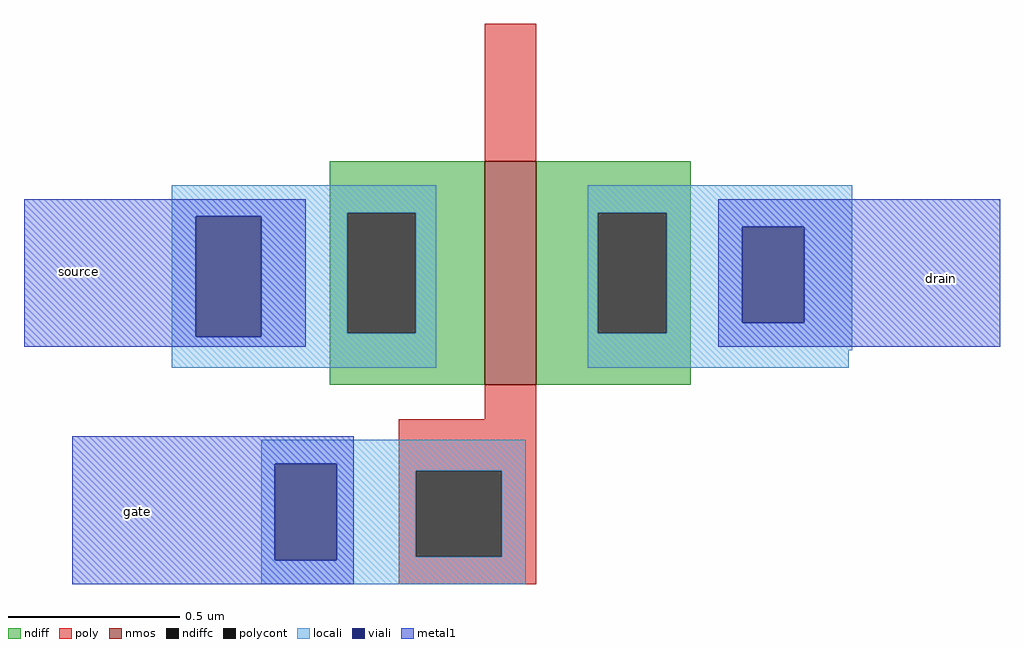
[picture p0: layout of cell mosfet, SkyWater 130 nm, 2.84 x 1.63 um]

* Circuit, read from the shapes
.subckt mosfet drain gate source
XM1 drain gate source VSUBS sky130_fd_pr__nfet_01v8 w=0.65 l=0.15
.ends

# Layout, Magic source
magic
tech sky130B
<< nmos >>
rect 40 0 55 65
<< ndiff >>
rect -5 50 40 65
rect -5 15 0 50
rect 20 15 40 50
rect -5 0 40 15
rect 55 50 100 65
rect 55 15 73 50
rect 93 15 100 50
rect 55 0 100 15
<< ndiffc >>
rect 0 15 20 50
rect 73 15 93 50
<< poly >>
rect 40 65 55 105
rect 40 -10 55 0
rect 15 -25 55 -10
rect 15 -50 20 -25
rect 45 -50 55 -25
rect 15 -58 55 -50
<< polycont >>
rect 20 -50 45 -25
<< locali >>
rect -51 50 26 58
rect -51 49 0 50
rect -51 14 -44 49
rect -25 15 0 49
rect 20 15 26 50
rect -25 14 26 15
rect -51 5 26 14
rect 70 50 147 58
rect 70 15 73 50
rect 93 46 147 50
rect 93 18 115 46
rect 133 18 147 46
rect 93 15 147 18
rect 70 10 147 15
rect 70 5 146 10
rect -25 -23 52 -16
rect -25 -51 -21 -23
rect -3 -25 52 -23
rect -3 -50 20 -25
rect 45 -50 52 -25
rect -3 -51 52 -50
rect -25 -58 52 -51
<< viali >>
rect -44 14 -25 49
rect 115 18 133 46
rect -21 -51 -3 -23
<< metal1 >>
rect -94 49 -12 54
rect -94 14 -44 49
rect -25 14 -12 49
rect -94 11 -12 14
rect 108 46 190 54
rect 108 18 115 46
rect 133 18 190 46
rect 108 11 190 18
rect -80 -23 2 -15
rect -80 -51 -21 -23
rect -3 -51 2 -23
rect -80 -58 2 -51
<< labels >>
rlabel metal1 -90 17 -66 49 1 source
rlabel metal1 -73 -53 -49 -21 1 gate
rlabel metal1 161 15 185 47 1 drain
<< end >>
